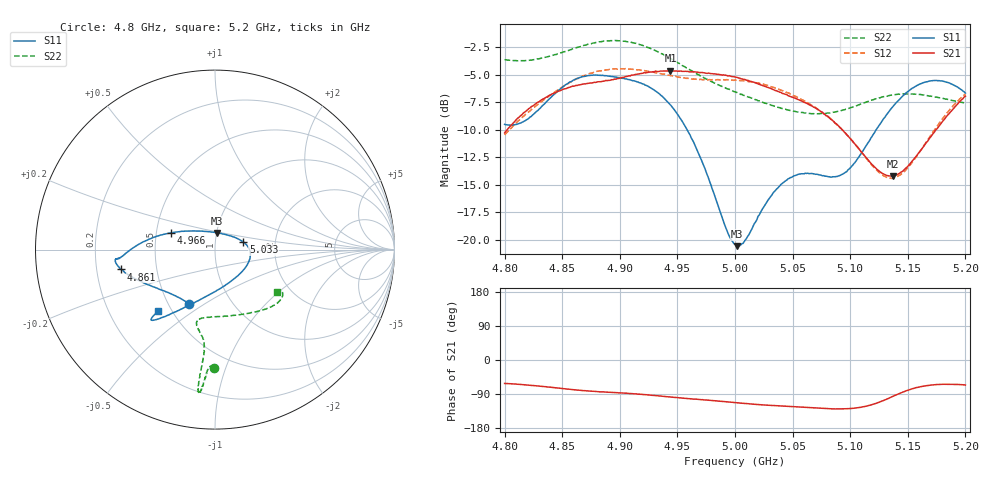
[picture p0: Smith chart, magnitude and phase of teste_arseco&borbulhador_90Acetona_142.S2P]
! Network Analyzer HP8722D
! Hewlett-Packard
! Data name: Linha & Wilkinson
! Saver's name: Rodrigo Anjos
! Comments: Teste da utilização de aquisição
! continua pelo VNA HP8722D
! Time and date: 17/4/2025 12:14
!  Frequency  S11  S21  S12  S22
# HZ  S  MA R 50
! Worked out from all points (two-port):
!   401 points, 4.8 GHz to 5.2 GHz, reference 50 ohm
!   highest |S21| = -4.64 dB at 4.944 GHz (marker M1); lowest = -14.2 dB at 5.137 GHz (marker M2)
!   |S21| within 3 dB of the highest: 4.827 GHz to 5.063 GHz (236 MHz wide, 4.77 % of centre); 5.193395 GHz to end of sweep
!   lowest |S11| = -20.6 dB at 5.002 GHz (marker M3), VSWR 1.21, Z = 50.3 + j9.45 ohm
!   |S11| at or under -10 dB: 4.958 GHz to 5.123 GHz (164.1 MHz wide, 3.26 % of centre)
!   |S22| runs from -8.6 to -1.9 dB; largest |S21 - S12| = 0.88
!   S11 on the Smith chart (normalised r, x): 4.8 GHz: 0.63, -0.43; 4.861 GHz: 0.31, -0.09; 4.966 GHz: 0.60, +0.12; 5.033 GHz: 1.37, +0.12; 5.2 GHz: 0.43, -0.37
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4.8e9  0.3345 -116.0  0.3061 -61.9  0.2999 -176.3  0.657 -90.7
4.819e9  0.351 -136.1  0.3863 -65.7  0.374 -175.4  0.6521 -92.4
4.861e9  0.5347 -168.1  0.4998 -78.7  0.5329 -178.7  0.7411 -94.8
4.867e9  0.5488 -170.5  0.5077 -80.4  0.5516 -179.7  0.7579 -95.1
4.899e9  0.5448 -174.8  0.5405 -86.8  0.5975 173.8  0.8003 -96.5
4.934e9  0.4617 179.3  0.5809 -95.0  0.5714 170.6  0.7078 -96.9
4.944e9  0.4096 174.5  0.586 -97.7  0.5559 170.7  0.6663 -96.6
4.966e9  0.2637 159.3  0.5777 -103.2  0.5361 172.6  0.5703 -95.9
4.993e9  0.1102 114.3  0.5569 -110.4  0.5334 174.8  0.4856 -98.7
5e9  0.09569 90.2  0.5486 -112.4  0.5324 174.8  0.4698 -100.2
5.002e9  0.09379 82.6  0.5459 -113.0  0.5298 174.9  0.4656 -100.6
5.009e9  0.09997 59.2  0.5336 -114.9  0.526 174.7  0.4491 -102.3
5.033e9  0.1633 15.3  0.4815 -120.1  0.4927 173.5  0.4067 -103.9
5.049e9  0.1923 -0.3  0.4453 -122.9  0.4576 172.9  0.3855 -99.6
5.067e9  0.2002 -19.6  0.4051 -126.2  0.4074 172.5  0.3738 -89.8
5.096e9  0.203 -70.2  0.3046 -128.7  0.3046 174.4  0.3915 -67.0
5.121e9  0.3062 -109.6  0.2146 -116.1  0.2125 -170.7  0.4348 -49.8
5.134e9  0.3844 -120.0  0.1953 -100.3  0.1912 -153.3  0.4521 -43.3
5.137e9  0.4021 -121.7  0.1948 -95.9  0.1914 -148.4  0.4549 -42.1
5.148e9  0.4623 -126.5  0.2112 -82.0  0.207 -132.2  0.4599 -38.0
5.17e9  0.5267 -131.6  0.2941 -66.1  0.2989 -112.5  0.449 -32.9
5.2e9  0.4636 -132.9  0.449 -66.0  0.4597 -108.1  0.4177 -34.5
